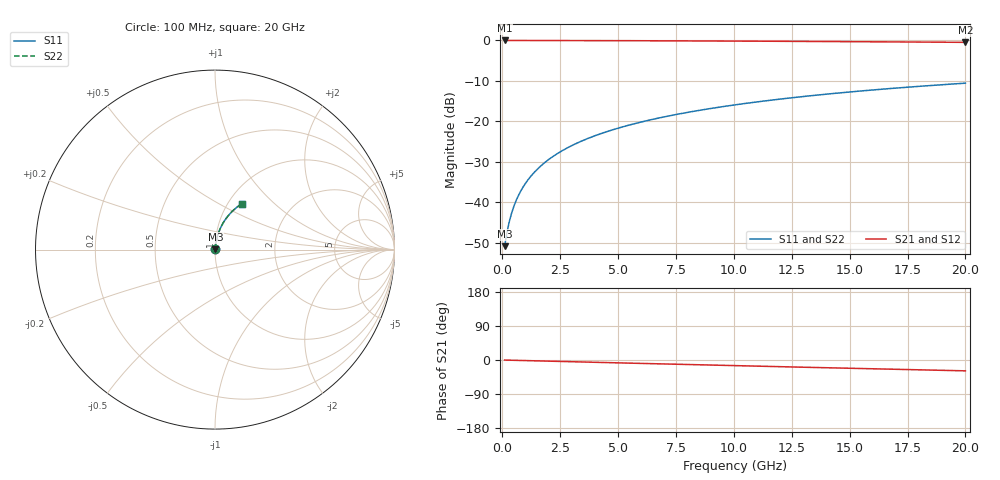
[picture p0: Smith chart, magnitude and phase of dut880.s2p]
! Touchstone file exported from HFSS 2026.1.0
!  File:  C:/ffzhzh/LocalFiles/Ansys_Project_Files/temp_train_TMRDL_880_1783157469_43440.aedt
!  Generated:  05:32:26 PM Jul  4, 2026
!  Design:  TMRDL
!  Project:  temp_train_TMRDL_880_1783157469_43440
! Variables:
!  h_bsmrdl = 2um
!  h_ox = 20um
!  h_rdl = 5um
!  h_sub = 80um
!  h_tmrdl = 4.9um
!  h_tsv = 80um
!  h_via = 3um
!  l_bsmrdl = 300um
!  l_sub = 793.26um
!  l_tmrdl = 393.26um
!  m_sub = 200um
!  pitch = 37.75um
!  r_tsv = 6um
!  s_tmrdl = 10um
!  w_bsmrdl = 18um
!  w_sub = 500um
!  w_tmrdl = 13.05um
!  x_tsv_center1 = 399.785um
!  x_tsv_center2 = 717.785um
!  x_tsv_center3 = 1124.095um
!  x_tsv_center4 = 1442.095um
!  x_tsv_center5 = 1848.405um
!  x_tsv_center6 = 2166.405um
# GHz S MA R 50.000000
! Terminal data exported
! Port[1] = TM_RDL1_1_T1
! Port[2] = TM_RDL1_1_T2
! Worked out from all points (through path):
!   200 points, 100 MHz to 20 GHz, reference 50 ohm
!   highest |S21| = -0.02 dB at 100 MHz (marker M1); lowest = -0.5 dB at 20 GHz (marker M2)
!   group delay of S21, straight-line fit = 3.97 ps
!   lowest |S11| = -50.8 dB at 100 MHz (marker M3), VSWR 1.01, Z = 50.2 + j0.178 ohm
!   |S11| at or under -10 dB: start of sweep to end of sweep
!   |S22| runs from -50.8 to -10.6 dB; largest |S21 - S12| = 2.2e-15
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0.1  0.002882 37.9  0.9977 -0.2  0.9977 -0.2  0.002882 37.9
! Gamma 0 0 0 0
! Port Impedance 50 0 50 0
0.2  0.004223 56.2  0.9977 -0.3  0.9977 -0.3  0.004223 56.2
0.3  0.005754 64.9  0.9976 -0.5  0.9976 -0.5  0.005754 64.9
0.4  0.007341 69.9  0.9975 -0.6  0.9975 -0.6  0.007341 69.9
0.5  0.008953 73.0  0.9975 -0.8  0.9975 -0.8  0.008953 73.0
0.6  0.01058 75.2  0.9974 -0.9  0.9974 -0.9  0.01058 75.2
0.8  0.01386 77.9  0.9973 -1.2  0.9973 -1.2  0.01386 77.9
1.1  0.01882 80.1  0.9971 -1.7  0.9971 -1.7  0.01882 80.1
1.5  0.02547 81.3  0.9968 -2.3  0.9968 -2.3  0.02547 81.3
1.8  0.03045 81.7  0.9966 -2.8  0.9966 -2.8  0.03045 81.7
2.1  0.03542 81.8  0.9963 -3.2  0.9963 -3.2  0.03542 81.8
2.7  0.04531 81.6  0.9956 -4.1  0.9956 -4.1  0.04531 81.6
3.5  0.05839 80.9  0.9945 -5.3  0.9945 -5.3  0.05839 80.9
4.2  0.0697 80.2  0.9934 -6.4  0.9934 -6.4  0.0697 80.2
5  0.08248 79.2  0.9919 -7.5  0.9919 -7.5  0.08248 79.2
5.9  0.09669 78.1  0.9902 -8.9  0.9902 -8.9  0.09669 78.1
6.8  0.1107 76.9  0.9882 -10.2  0.9882 -10.2  0.1107 76.9
8.3  0.1337 74.9  0.9847 -12.4  0.9847 -12.4  0.1337 74.9
10.1  0.1607 72.5  0.9799 -15.0  0.9799 -15.0  0.1607 72.5
13.4  0.2084 68.2  0.9699 -19.6  0.9699 -19.6  0.2084 68.2
16.7  0.2537 63.8  0.9584 -24.2  0.9584 -24.2  0.2537 63.8
20  0.2962 59.5  0.9456 -28.6  0.9456 -28.6  0.2962 59.5
